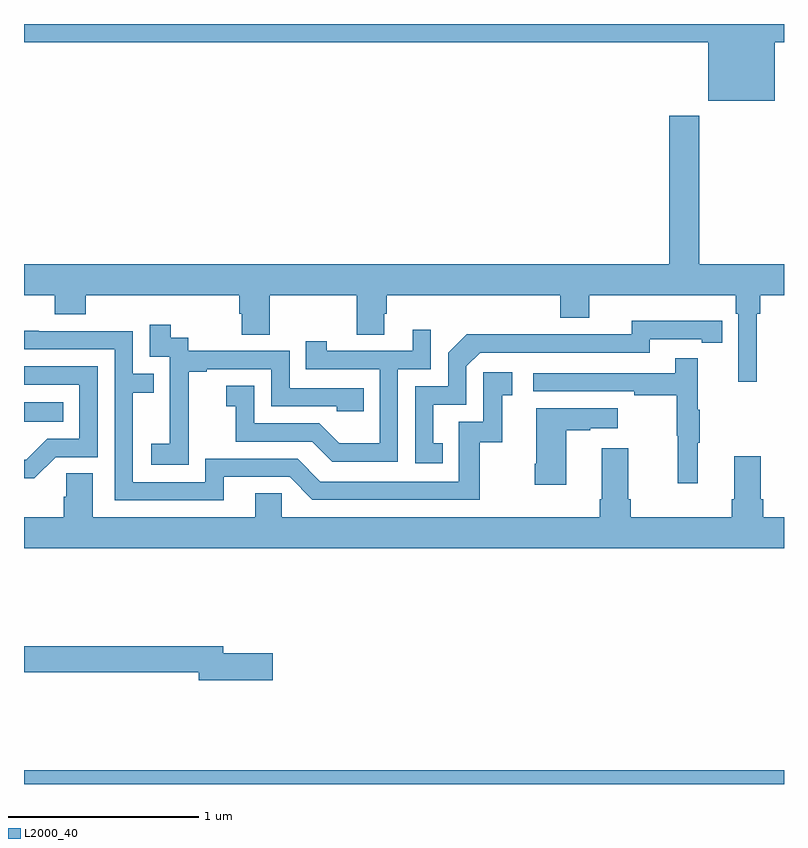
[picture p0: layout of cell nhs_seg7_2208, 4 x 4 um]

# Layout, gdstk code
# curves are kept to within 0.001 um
import gdstk
lib = gdstk.Library(unit=1e-6, precision=1e-09)
def R(c, l, rs):  # rectangles x0, y0, x1, y1
    for r in rs: c.add(gdstk.rectangle(r[:2], r[2:], *l))
def P(c, l, *ps):  # polygons
    for p in ps: c.add(gdstk.Polygon(p, *l))
L2000_40 = (2000, 40)

nhs_seg7_2208 = lib.new_cell('nhs_seg7_2208')
R(nhs_seg7_2208, L2000_40, [(255,1042,259,1042.072), (255,1043.906,255.206,1044.01)])
P(nhs_seg7_2208, L2000_40, [(258.952,1045.904),(259,1045.904),(259,1046),(255,1046),(255,1045.904),(258.602,1045.904),(258.602,1045.595),(258.952,1045.595)],
  [(258.856,1044.476),(258.875,1044.476),(258.875,1044.572),(259,1044.572),(259,1044.736),(258.555,1044.736),(258.555,1045.516),(258.395,1045.516),(258.395,1044.736),(255,1044.736),(255,1044.572),(255.161,1044.572),(255.161,1044.473),(255.326,1044.473),(255.326,1044.572),(256.133,1044.572),(256.133,1044.474),(256.145,1044.474),(256.145,1044.364),(256.293,1044.364),(256.293,1044.572),(256.75,1044.572),(256.75,1044.364),(256.897,1044.364),(256.897,1044.474),(256.91,1044.474),(256.91,1044.572),(257.822,1044.572),(257.822,1044.455),(257.974,1044.455),(257.974,1044.572),(258.746,1044.572),(258.746,1044.476),(258.759,1044.476),(258.759,1044.117),(258.856,1044.117)],
  [(257.204,1043.793),(257.155,1043.793),(257.155,1043.997),(257.328,1043.997),(257.328,1044.198),(257.4,1044.27),(258.294,1044.27),(258.294,1044.342),(258.566,1044.342),(258.566,1044.322),(258.674,1044.322),(258.674,1044.438),(258.198,1044.439),(258.198,1044.366),(257.738,1044.366),(257.738,1044.368),(257.33,1044.368),(257.232,1044.27),(257.232,1044.093),(257.058,1044.093),(257.058,1043.688),(257.204,1043.688)],
  [(255.867,1043.887),(255.866,1043.887),(255.866,1044.171),(255.961,1044.171),(255.961,1044.183),(256.302,1044.183),(256.302,1043.988),(256.647,1043.988),(256.647,1043.961),(256.787,1043.961),(256.787,1044.084),(256.398,1044.084),(256.398,1044.279),(255.864,1044.279),(255.864,1044.348),(255.772,1044.348),(255.772,1044.418),(255.663,1044.418),(255.663,1044.249),(255.768,1044.249),(255.768,1044.02),(255.767,1044.02),(255.767,1043.791),(255.669,1043.791),(255.669,1043.681),(255.867,1043.681)],
  [(256.968,1044.183),(257.142,1044.183),(257.142,1044.391),(257.045,1044.391),(257.045,1044.279),(256.594,1044.279),(256.594,1044.331),(256.483,1044.331),(256.483,1044.183),(256.872,1044.183),(256.872,1043.794),(256.658,1043.794),(256.554,1043.898),(256.212,1043.898),(256.212,1044.097),(256.065,1044.097),(256.065,1043.987),(256.114,1043.987),(256.114,1043.802),(256.517,1043.802),(256.622,1043.697),(256.968,1043.697)],
  [(256.051,1043.616),(256.398,1043.616),(256.518,1043.496),(257.398,1043.496),(257.398,1043.799),(257.516,1043.799),(257.516,1044.045),(257.569,1044.045),(257.569,1044.166),(257.418,1044.166),(257.418,1043.907),(257.289,1043.907),(257.289,1043.592),(256.56,1043.592),(256.44,1043.712),(255.954,1043.712),(255.954,1043.589),(255.573,1043.589),(255.573,1044.058),(255.683,1044.058),(255.683,1044.159),(255.573,1044.159),(255.573,1044.384),(255.077,1044.384),(255.077,1044.386),(255,1044.386),(255,1044.288),(255.477,1044.288),(255.477,1043.493),(256.051,1043.493)],
  [(258.545,1043.795),(258.556,1043.795),(258.556,1043.969),(258.545,1043.969),(258.545,1044.241),(258.427,1044.241),(258.427,1044.162),(257.679,1044.162),(257.679,1044.066),(258.211,1044.066),(258.211,1044.046),(258.435,1044.046),(258.435,1043.832),(258.442,1043.832),(258.442,1043.583),(258.545,1043.583)],
  [(255.168,1043.721),(255.387,1043.721),(255.387,1044.198),(255,1044.198),(255,1044.102),(255.291,1044.102),(255.291,1043.817),(255.122,1043.817),(255.011,1043.706),(255,1043.706),(255,1043.609),(255.055,1043.609)],
  [(257.854,1043.863),(257.981,1043.863),(257.981,1043.873),(258.124,1043.873),(258.124,1043.977),(257.696,1043.977),(257.696,1043.686),(257.689,1043.686),(257.689,1043.574),(257.854,1043.574)],
  [(259,1043.404),(258.89,1043.404),(258.89,1043.5),(258.877,1043.5),(258.877,1043.725),(258.737,1043.725),(258.737,1043.5),(258.725,1043.5),(258.725,1043.404),(258.194,1043.404),(258.194,1043.5),(258.181,1043.5),(258.181,1043.767),(258.041,1043.767),(258.041,1043.5),(258.029,1043.5),(258.029,1043.404),(256.356,1043.404),(256.356,1043.531),(256.217,1043.531),(256.217,1043.404),(255.361,1043.404),(255.361,1043.636),(255.222,1043.636),(255.222,1043.513),(255.209,1043.513),(255.209,1043.404),(255,1043.404),(255,1043.24),(259,1043.24)],
  [(256.309,1042.688),(256.048,1042.688),(256.048,1042.724),(255,1042.724),(255,1042.588),(255.92,1042.588),(255.92,1042.546),(256.309,1042.546)])

lib.write_gds('nhs_seg7_2208.gds')
